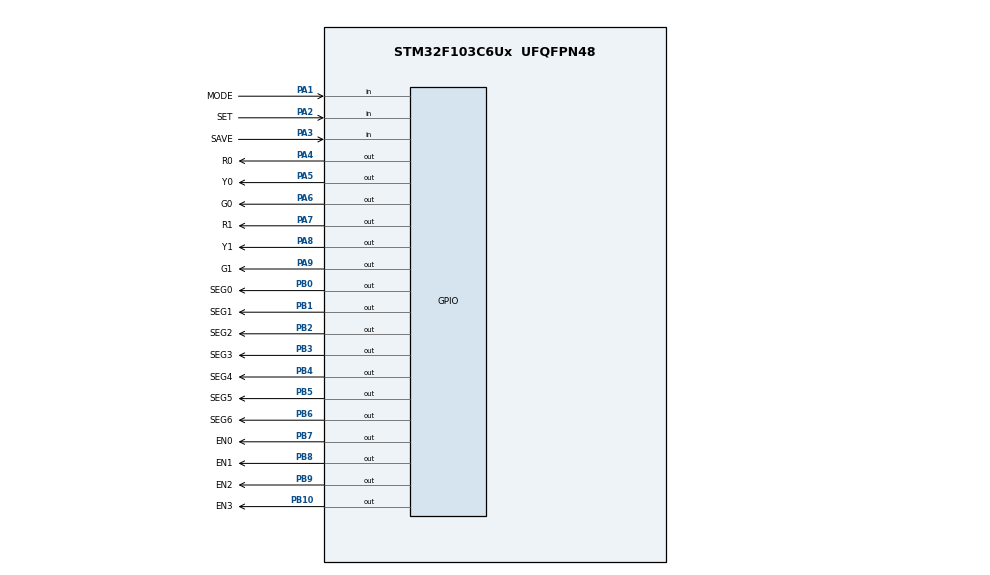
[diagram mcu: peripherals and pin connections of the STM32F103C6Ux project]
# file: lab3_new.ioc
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Mcu.Family=STM32F1
Mcu.Name=STM32F103C6Ux
Mcu.Package=UFQFPN48
NVIC.PriorityGroup=NVIC_PRIORITYGROUP_4
NVIC.TIM2_IRQn=true\:0\:0\:false\:false\:true\:true\:true
PA1.GPIO_Label=MODE
PA1.GPIO_PuPd=GPIO_PULLUP
PA1.Signal=GPIO_Input
PA2.GPIO_Label=SET
PA2.GPIO_PuPd=GPIO_PULLUP
PA2.Signal=GPIO_Input
PA3.GPIO_Label=SAVE
PA3.GPIO_PuPd=GPIO_PULLUP
PA3.Signal=GPIO_Input
PA4.GPIO_Label=R0
PA4.Signal=GPIO_Output
PA5.GPIO_Label=Y0
PA5.Signal=GPIO_Output
PA6.GPIO_Label=G0
PA6.Signal=GPIO_Output
PA7.GPIO_Label=R1
PA7.Signal=GPIO_Output
PA8.GPIO_Label=Y1
PA8.Signal=GPIO_Output
PA9.GPIO_Label=G1
PA9.Signal=GPIO_Output
PB0.GPIO_Label=SEG0
PB0.Signal=GPIO_Output
PB1.GPIO_Label=SEG1
PB1.Signal=GPIO_Output
PB10.GPIO_Label=EN3
PB10.Signal=GPIO_Output
PB2.GPIO_Label=SEG2
PB2.Signal=GPIO_Output
PB3.GPIO_Label=SEG3
PB3.Signal=GPIO_Output
PB4.GPIO_Label=SEG4
PB4.Signal=GPIO_Output
PB5.GPIO_Label=SEG5
PB5.Signal=GPIO_Output
PB6.GPIO_Label=SEG6
PB6.Signal=GPIO_Output
PB7.GPIO_Label=EN0
PB7.Signal=GPIO_Output
PB8.GPIO_Label=EN1
PB8.Signal=GPIO_Output
PB9.GPIO_Label=EN2
PB9.Signal=GPIO_Output
ProjectManager.HeapSize=0x200
ProjectManager.StackSize=0x400
ProjectManager.TargetToolchain=STM32CubeIDE
RCC.APB1Freq_Value=8000000
RCC.APB2Freq_Value=8000000
TIM2.Period=9
TIM2.Prescaler=7999
VP_SYS_VS_ND.Mode=No_Debug
VP_TIM2_VS_ClockSourceINT.Mode=Internal
board=custom

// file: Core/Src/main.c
/* USER CODE BEGIN Header */
/**
  ******************************************************************************
  * @file           : main.c
  * @brief          : Main program body
  ******************************************************************************
  * @attention
  *
  * <h2><center>&copy; Copyright (c) 2026 STMicroelectronics.
  * All rights reserved.</center></h2>
  *
  * This software component is licensed by ST under BSD 3-Clause license,
  * the "License"; You may not use this file except in compliance with the
  * License. You may obtain a copy of the License at:
  *                        opensource.org/licenses/BSD-3-Clause
  *
  ******************************************************************************
  */
/* USER CODE END Header */
#include "main.h"

/* USER CODE BEGIN Includes */
#include "timer.h"
#include "input_processing.h"
#include "led_display.h"
#include "input_reading.h"
/* USER CODE END Includes */

TIM_HandleTypeDef htim2;

/* USER CODE BEGIN PV */
int TIMER_CYCLE = 10;
int timer_counter[3] = {0, 0, 0};
int timer_flag[3] = {0, 0, 0};
int time_buffer[4] = {0, 0, 0, 0};

int mode = 1;
int red_value = 5, yellow_value = 2, green_value = 3;
int red_temp = 5, yellow_temp = 2, green_temp = 3;
int count1 = 5, count2 = 3;
/* USER CODE END PV */

void SystemClock_Config(void);
static void MX_GPIO_Init(void);
static void MX_TIM2_Init(void);

int main(void)
{

  /* MCU Configuration--------------------------------------------------------*/

  /* Reset of all peripherals, Initializes the Flash interface and the Systick. */
  HAL_Init();

  /* Configure the system clock */
  SystemClock_Config();

  /* Initialize all configured peripherals */
  MX_GPIO_Init();
  MX_TIM2_Init();
  /* USER CODE BEGIN 2 */
  init_buffer();
    HAL_TIM_Base_Start_IT(&htim2);

    setTimer(0, 250);
    setTimer(1, 250);
    setTimer(2, 1000);
  /* USER CODE END 2 */

  /* Infinite loop */
  /* USER CODE BEGIN WHILE */
  while (1)
  {
	  fsm_for_input_processing();

	        update_led_buffer();

	        if(timer_flag[0] == 1){
	        	setTimer(0, 250);
	            LEDScanning();
	        }

	        fsm_traffic_light_run();
    /* USER CODE END WHILE */

  }
}

void SystemClock_Config(void)
{
  RCC_OscInitTypeDef RCC_OscInitStruct = {0};
  RCC_ClkInitTypeDef RCC_ClkInitStruct = {0};

  /** Initializes the RCC Oscillators according to the specified parameters
  * in the RCC_OscInitTypeDef structure.
  */
  RCC_OscInitStruct.OscillatorType = RCC_OSCILLATORTYPE_HSI;
  RCC_OscInitStruct.HSIState = RCC_HSI_ON;
  RCC_OscInitStruct.HSICalibrationValue = RCC_HSICALIBRATION_DEFAULT;
  RCC_OscInitStruct.PLL.PLLState = RCC_PLL_NONE;
  if (HAL_RCC_OscConfig(&RCC_OscInitStruct) != HAL_OK)
  {
    Error_Handler();
  }
  /** Initializes the CPU, AHB and APB buses clocks
  */
  RCC_ClkInitStruct.ClockType = RCC_CLOCKTYPE_HCLK|RCC_CLOCKTYPE_SYSCLK
                              |RCC_CLOCKTYPE_PCLK1|RCC_CLOCKTYPE_PCLK2;
  RCC_ClkInitStruct.SYSCLKSource = RCC_SYSCLKSOURCE_HSI;
  RCC_ClkInitStruct.AHBCLKDivider = RCC_SYSCLK_DIV1;
  RCC_ClkInitStruct.APB1CLKDivider = RCC_HCLK_DIV1;
  RCC_ClkInitStruct.APB2CLKDivider = RCC_HCLK_DIV1;

  if (HAL_RCC_ClockConfig(&RCC_ClkInitStruct, FLASH_LATENCY_0) != HAL_OK)
  {
    Error_Handler();
  }
}

static void MX_TIM2_Init(void)
{

  TIM_ClockConfigTypeDef sClockSourceConfig = {0};
  TIM_MasterConfigTypeDef sMasterConfig = {0};

  htim2.Instance = TIM2;
  htim2.Init.Prescaler = 7999;
  htim2.Init.CounterMode = TIM_COUNTERMODE_UP;
  htim2.Init.Period = 9;
  htim2.Init.ClockDivision = TIM_CLOCKDIVISION_DIV1;
  htim2.Init.AutoReloadPreload = TIM_AUTORELOAD_PRELOAD_DISABLE;
  if (HAL_TIM_Base_Init(&htim2) != HAL_OK)
  {
    Error_Handler();
  }
  sClockSourceConfig.ClockSource = TIM_CLOCKSOURCE_INTERNAL;
  if (HAL_TIM_ConfigClockSource(&htim2, &sClockSourceConfig) != HAL_OK)
  {
    Error_Handler();
  }
  sMasterConfig.MasterOutputTrigger = TIM_TRGO_RESET;
  sMasterConfig.MasterSlaveMode = TIM_MASTERSLAVEMODE_DISABLE;
  if (HAL_TIMEx_MasterConfigSynchronization(&htim2, &sMasterConfig) != HAL_OK)
  {
    Error_Handler();
  }

}

static void MX_GPIO_Init(void)
{
  GPIO_InitTypeDef GPIO_InitStruct = {0};

  /* GPIO Ports Clock Enable */
  __HAL_RCC_GPIOA_CLK_ENABLE();
  __HAL_RCC_GPIOB_CLK_ENABLE();

  /*Configure GPIO pin Output Level */
  HAL_GPIO_WritePin(GPIOA, R0_Pin|Y0_Pin|G0_Pin|R1_Pin
                          |Y1_Pin|G1_Pin, GPIO_PIN_RESET);

  /*Configure GPIO pin Output Level */
  HAL_GPIO_WritePin(GPIOB, SEG0_Pin|SEG1_Pin|SEG2_Pin|EN3_Pin
                          |SEG3_Pin|SEG4_Pin|SEG5_Pin|SEG6_Pin
                          |EN0_Pin|EN1_Pin|EN2_Pin, GPIO_PIN_RESET);

  /*Configure GPIO pins : MODE_Pin SET_Pin SAVE_Pin */
  GPIO_InitStruct.Pin = MODE_Pin|SET_Pin|SAVE_Pin;
  GPIO_InitStruct.Mode = GPIO_MODE_INPUT;
  GPIO_InitStruct.Pull = GPIO_PULLUP;
  HAL_GPIO_Init(GPIOA, &GPIO_InitStruct);

  /*Configure GPIO pins : R0_Pin Y0_Pin G0_Pin R1_Pin
                           Y1_Pin G1_Pin */
  GPIO_InitStruct.Pin = R0_Pin|Y0_Pin|G0_Pin|R1_Pin
                          |Y1_Pin|G1_Pin;
  GPIO_InitStruct.Mode = GPIO_MODE_OUTPUT_PP;
  GPIO_InitStruct.Pull = GPIO_NOPULL;
  GPIO_InitStruct.Speed = GPIO_SPEED_FREQ_LOW;
  HAL_GPIO_Init(GPIOA, &GPIO_InitStruct);

  /*Configure GPIO pins : SEG0_Pin SEG1_Pin SEG2_Pin EN3_Pin
                           SEG3_Pin SEG4_Pin SEG5_Pin SEG6_Pin
                           EN0_Pin EN1_Pin EN2_Pin */
  GPIO_InitStruct.Pin = SEG0_Pin|SEG1_Pin|SEG2_Pin|EN3_Pin
                          |SEG3_Pin|SEG4_Pin|SEG5_Pin|SEG6_Pin
                          |EN0_Pin|EN1_Pin|EN2_Pin;
  GPIO_InitStruct.Mode = GPIO_MODE_OUTPUT_PP;
  GPIO_InitStruct.Pull = GPIO_NOPULL;
  GPIO_InitStruct.Speed = GPIO_SPEED_FREQ_LOW;
  HAL_GPIO_Init(GPIOB, &GPIO_InitStruct);

}

void Error_Handler(void)
{
  __disable_irq();
  while (1)
  {
  }
}

/************************ (C) COPYRIGHT STMicroelectronics *****END OF FILE****/
